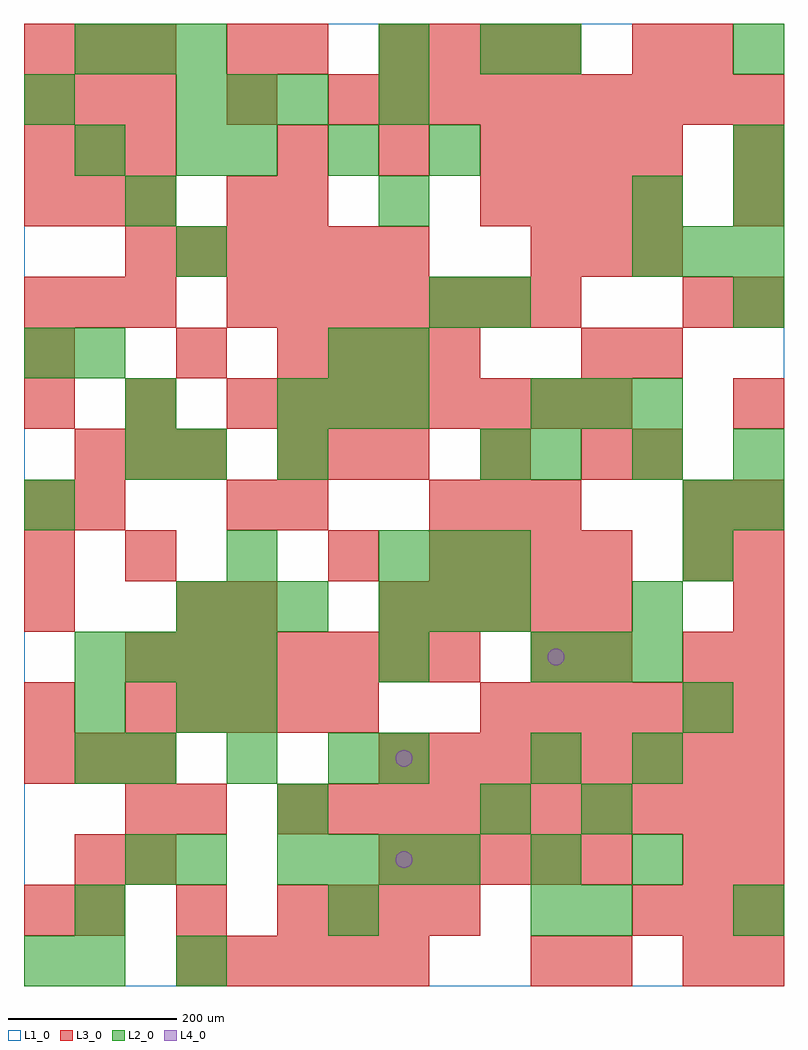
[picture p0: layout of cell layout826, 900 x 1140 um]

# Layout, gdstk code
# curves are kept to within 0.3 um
import gdstk
lib = gdstk.Library(unit=1e-6, precision=1e-09)
def R(c, l, rs):  # rectangles x0, y0, x1, y1
    for r in rs: c.add(gdstk.rectangle(r[:2], r[2:], *l))
def A(c, l, x, y, w, h, nx, ny, dx, dy):  # array of equal rectangles
    R(c, l, [(x+i*dx, y+j*dy, x+i*dx+w, y+j*dy+h) for i in range(nx) for j in range(ny)])
def P(c, l, *ps):  # polygons
    for p in ps: c.add(gdstk.Polygon(p, *l))
L1_0 = (1, 0)
L2_0 = (2, 0)
L3_0 = (3, 0)
L4_0 = (4, 0)

layout826 = lib.new_cell('layout826')
R(layout826, L1_0, [(0,0,900,1140)])
A(layout826, L2_0, 300, 120, 60, 60, 4, 1, 60, 0)
A(layout826, L2_0, 120, 240, 60, 60, 3, 1, 120, 0)
A(layout826, L2_0, 60, 360, 60, 60, 4, 1, 60, 0)
A(layout826, L2_0, 600, 360, 60, 60, 3, 2, 60, 300)
A(layout826, L2_0, 180, 420, 60, 60, 3, 2, 60, 600)
A(layout826, L2_0, 420, 420, 60, 60, 3, 2, 60, 60)
A(layout826, L2_0, 600, 600, 60, 60, 3, 1, 120, 0)
A(layout826, L2_0, 300, 660, 60, 60, 3, 1, 60, 0)
A(layout826, L2_0, 720, 840, 60, 60, 3, 1, 60, 0)
A(layout826, L2_0, 120, 900, 60, 60, 3, 1, 300, 0)
A(layout826, L2_0, 240, 960, 60, 60, 3, 1, 120, 0)
A(layout826, L2_0, 60, 1080, 60, 60, 3, 1, 60, 0)
R(layout826, L2_0, [(0,0,60,60), (60,0,120,60), (180,0,240,60), (60,60,120,120), (360,60,420,120), (600,60,660,120), (660,60,720,120), (840,60,900,120), (120,120,180,180), (180,120,240,180), (600,120,660,180), (720,120,780,180), (300,180,360,240), (540,180,600,240), (660,180,720,240), (60,240,120,300), (420,240,480,300), (600,240,660,300), (720,240,780,300), (60,300,120,360), (180,300,240,360), (240,300,300,360), (780,300,840,360), (420,360,480,420), (720,420,780,480), (240,480,300,540), (780,480,840,540), (0,540,60,600), (780,540,840,600), (840,540,900,600), (120,600,180,660), (180,600,240,660), (300,600,360,660), (540,600,600,660), (120,660,180,720), (0,720,60,780), (60,720,120,780), (360,720,420,780), (420,720,480,780), (480,780,540,840), (540,780,600,840), (840,780,900,840), (180,840,240,900), (840,900,900,960), (60,960,120,1020), (180,960,240,1020), (840,960,900,1020), (0,1020,60,1080), (420,1020,480,1080), (420,1080,480,1140), (540,1080,600,1140), (600,1080,660,1140), (840,1080,900,1140)])
A(layout826, L3_0, 180, 0, 60, 60, 5, 1, 60, 0)
A(layout826, L3_0, 60, 60, 60, 60, 3, 1, 120, 0)
A(layout826, L3_0, 360, 60, 60, 60, 3, 1, 60, 0)
A(layout826, L3_0, 720, 60, 60, 60, 3, 1, 60, 0)
A(layout826, L3_0, 420, 120, 60, 60, 5, 2, 60, 300)
A(layout826, L3_0, 300, 180, 60, 60, 10, 1, 60, 0)
A(layout826, L3_0, 0, 240, 60, 60, 3, 2, 60, 540)
A(layout826, L3_0, 420, 240, 60, 60, 8, 1, 60, 0)
A(layout826, L3_0, 120, 300, 60, 60, 5, 1, 60, 0)
A(layout826, L3_0, 540, 300, 60, 60, 6, 1, 60, 0)
A(layout826, L3_0, 120, 360, 60, 60, 7, 1, 60, 0)
A(layout826, L3_0, 840, 360, 60, 60, 1, 4, 0, 60)
A(layout826, L3_0, 0, 420, 60, 60, 1, 3, 0, 60)
A(layout826, L3_0, 480, 480, 60, 60, 4, 1, 60, 0)
A(layout826, L3_0, 480, 540, 60, 60, 3, 1, 60, 0)
A(layout826, L3_0, 60, 600, 60, 60, 3, 1, 60, 0)
A(layout826, L3_0, 300, 600, 60, 60, 3, 1, 60, 0)
A(layout826, L3_0, 0, 660, 60, 60, 3, 1, 120, 0)
A(layout826, L3_0, 300, 660, 60, 60, 7, 1, 60, 0)
A(layout826, L3_0, 840, 660, 60, 60, 1, 3, 0, 120)
A(layout826, L3_0, 300, 720, 60, 60, 4, 1, 60, 0)
A(layout826, L3_0, 240, 780, 60, 60, 7, 1, 60, 0)
A(layout826, L3_0, 120, 840, 60, 60, 6, 1, 60, 0)
A(layout826, L3_0, 600, 840, 60, 60, 3, 2, 60, 120)
A(layout826, L3_0, 0, 900, 60, 60, 3, 4, 60, 60)
A(layout826, L3_0, 540, 900, 60, 60, 4, 1, 60, 0)
A(layout826, L3_0, 300, 960, 60, 60, 3, 1, 120, 0)
A(layout826, L3_0, 360, 1020, 60, 60, 9, 1, 60, 0)
A(layout826, L3_0, 420, 1080, 60, 60, 4, 1, 60, 0)
R(layout826, L3_0, [(600,0,660,60), (660,0,720,60), (780,0,840,60), (840,0,900,60), (0,60,60,120), (60,120,120,180), (120,120,180,180), (780,120,840,180), (840,120,900,180), (120,180,180,240), (180,180,240,240), (0,300,60,360), (600,360,660,420), (660,360,720,420), (780,360,840,420), (180,420,240,480), (240,420,300,480), (120,480,180,540), (360,480,420,540), (780,480,840,540), (60,540,120,600), (240,540,300,600), (300,540,360,600), (780,540,840,600), (540,600,600,660), (660,600,720,660), (720,600,780,660), (0,720,60,780), (180,720,240,780), (660,720,720,780), (720,720,780,780), (780,780,840,840), (240,900,300,960), (300,900,360,960), (840,960,900,1020), (240,1020,300,1080), (240,1080,300,1140), (300,1080,360,1140), (720,1080,780,1140), (780,1080,840,1140)])
P(layout826, L4_0, [(460,150),(459.239,153.827),(457.071,157.071),(453.827,159.239),(450,160),(446.173,159.239),(442.929,157.071),(440.761,153.827),(440,150),(440.761,146.173),(442.929,142.929),(446.173,140.761),(450,140),(453.827,140.761),(457.071,142.929),(459.239,146.173)],
  [(460,270),(459.239,273.827),(457.071,277.071),(453.827,279.239),(450,280),(446.173,279.239),(442.929,277.071),(440.761,273.827),(440,270),(440.761,266.173),(442.929,262.929),(446.173,260.761),(450,260),(453.827,260.761),(457.071,262.929),(459.239,266.173)],
  [(640,390),(639.239,393.827),(637.071,397.071),(633.827,399.239),(630,400),(626.173,399.239),(622.929,397.071),(620.761,393.827),(620,390),(620.761,386.173),(622.929,382.929),(626.173,380.761),(630,380),(633.827,380.761),(637.071,382.929),(639.239,386.173)])

lib.write_gds('layout826.gds')
